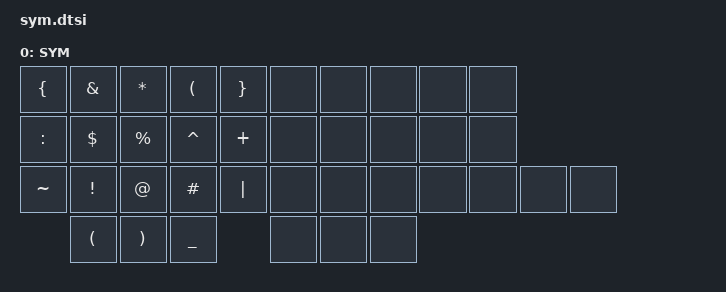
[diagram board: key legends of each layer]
/ {
    keymap {
        compatible = "zmk,keymap";

        sym_layer {
            label = "SYM";
            bindings = <
  // Top row
                &kp LBRC     &kp AMPS     &kp ASTRK     &kp LPAR     &kp RBRC         &none        &none        &none         &none        &none

  // Home row
                &kp COLON    &kp DLLR     &kp PRCNT     &kp CARET    &kp PLUS         &none        &none        &none         &none        &none

  // Bottom row
                &kp TILDE    &kp EXCL     &kp AT        &kp HASH     &kp PIPE         &none        &none        &none         &none        &none        &none        &none

  // Thumbs
                               &kp LPAR     &kp RPAR     &kp UNDER                  &none        &none        &none
            >;
        };
    };
};
